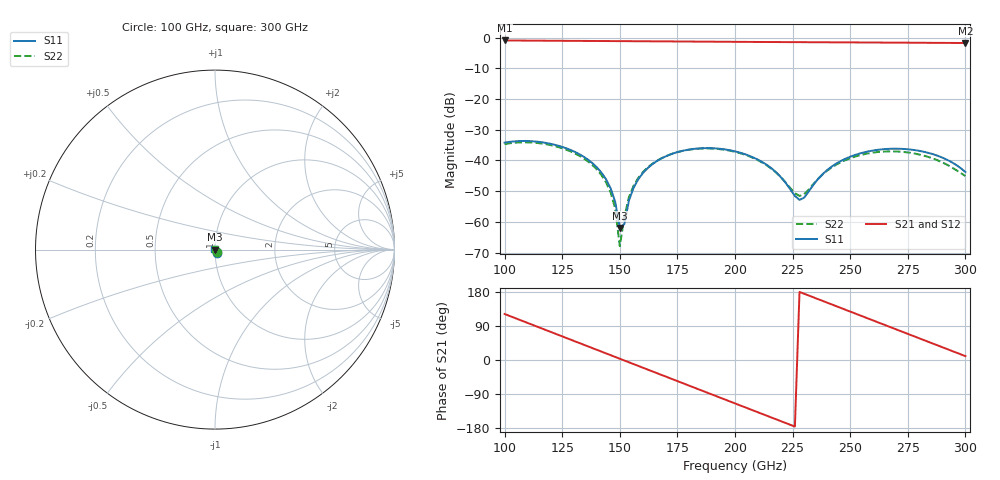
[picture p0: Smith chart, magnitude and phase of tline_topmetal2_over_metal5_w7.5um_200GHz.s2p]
#  GHZ S DB R 50
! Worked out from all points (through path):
!   101 points, 100 GHz to 300 GHz, reference 50 ohm
!   highest |S21| = -0.95 dB at 100 GHz (marker M1); lowest = -1.8 dB at 300 GHz (marker M2)
!   group delay of S21, straight-line fit = 6.54 ps
!   lowest |S11| = -62.0 dB at 150 GHz (marker M3), VSWR 1.00, Z = 49.9 - j0.0364 ohm
!   |S11| at or under -10 dB: start of sweep to end of sweep
!   |S22| runs from -67.9 to -34.1 dB; largest |S21 - S12| = 9.6e-14
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100  -34.22 -61.2  -0.95 121.4  -0.95 121.4  -34.71 -61.4
116  -34.07 -101.6  -1.03 83.6  -1.03 83.6  -34.49 -102.0
134  -38.65 -146.1  -1.10 41.1  -1.10 41.1  -39.19 -146.8
142  -43.93 -164.7  -1.14 22.2  -1.14 22.2  -44.75 -165.9
146  -49.04 -171.7  -1.15 12.8  -1.15 12.8  -50.38 -173.3
148  -53.47 -171.6  -1.16 8.1  -1.16 8.1  -55.68 -173.0
150  -62.00 -152.7  -1.17 3.3  -1.17 3.3  -67.92 -132.0
152  -60.69 -46.6  -1.18 -1.4  -1.18 -1.4  -58.26 -31.8
154  -52.99 -32.9  -1.19 -6.1  -1.19 -6.1  -51.84 -28.5
156  -48.89 -33.5  -1.20 -10.8  -1.20 -10.8  -48.21 -31.2
160  -44.15 -40.9  -1.21 -20.3  -1.21 -20.3  -43.84 -39.9
168  -39.39 -60.4  -1.25 -39.1  -1.25 -39.1  -39.32 -60.2
184  -36.11 -103.0  -1.32 -76.9  -1.32 -76.9  -36.19 -103.6
200  -37.04 -147.6  -1.40 -114.6  -1.40 -114.6  -37.20 -149.0
216  -42.67 161.7  -1.46 -152.2  -1.46 -152.2  -42.82 157.9
228  -52.86 63.2  -1.51 179.6  -1.51 179.6  -51.57 60.6
234  -47.97 -12.2  -1.53 165.5  -1.53 165.5  -47.69 -8.3
248  -39.43 -71.1  -1.58 132.5  -1.58 132.5  -39.88 -70.7
258  -37.04 -100.9  -1.62 109.0  -1.62 109.0  -37.69 -102.1
268  -36.20 -129.3  -1.66 85.4  -1.66 85.4  -37.06 -132.4
282  -37.19 -169.1  -1.71 52.5  -1.71 52.5  -38.45 -176.9
300  -43.78 132.4  -1.78 10.2  -1.78 10.2  -45.08 100.2
